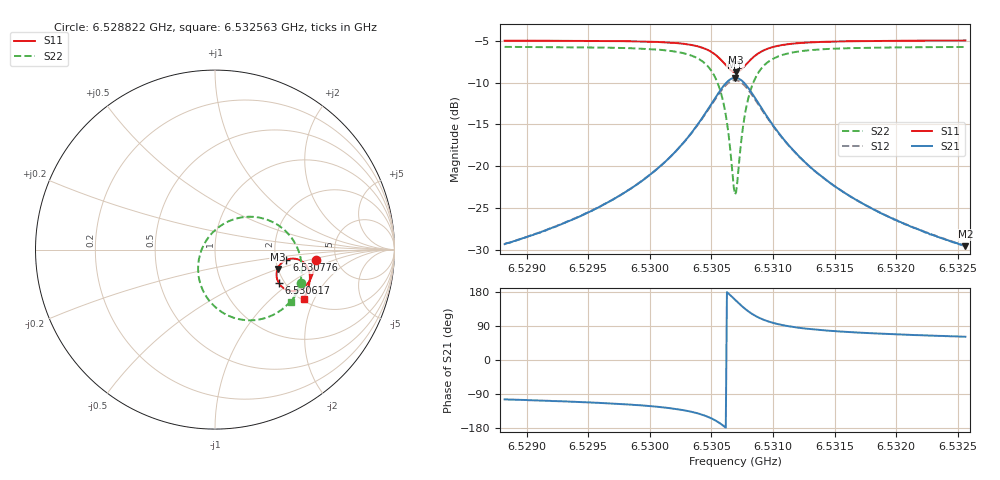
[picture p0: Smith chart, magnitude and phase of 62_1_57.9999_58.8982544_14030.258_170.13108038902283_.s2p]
#  HZ  S  RI  R  50.00
! Rohde & Schwarz Vector Network Analyzer
! Rohde-Schwarz,ZNB20-2Port,1311601062101988,3.16
! Created: UTC 3/21/2024, 12:53:01 AM
! freq[Hz]  re:S11  im:S11  re:S21  im:S21  re:S12  im:S12  re:S22  im:S22
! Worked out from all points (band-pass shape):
!   401 points, 6.528822 GHz to 6.532563 GHz, reference 50 ohm
!   highest |S21| = -9.42 dB at 6.530692 GHz (marker M1); lowest = -29.5 dB at 6.532563 GHz (marker M2)
!   |S21| within 3 dB of the highest: 6.530506 GHz to 6.530881 GHz (374.4 kHz wide, 0.00573 % of centre)
!   lowest |S11| = -8.8 dB at 6.530702 GHz (marker M3), VSWR 2.15, Z = 99.5 - j24.8 ohm
!   |S11| at or under -10 dB: nowhere
!   |S22| runs from -23.4 to -5.7 dB; largest |S21 - S12| = 0.014
!   S11 on the Smith chart (normalised r, x): 6.528822 GHz: 3.48, -0.59; 6.530617 GHz: 1.86, -0.83; 6.530776 GHz: 2.29, -0.31; 6.532563 GHz: 2.05, -1.66
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6.5288218e9  0.5607 -0.0578  -0.00831 -0.0332  -0.00909 -0.0331  0.4816 -0.1888
6.5294484e9  0.5513 -0.1118  -0.0183 -0.0474  -0.0194 -0.0471  0.449 -0.2506
6.5298038e9  0.5401 -0.1469  -0.0318 -0.0628  -0.0336 -0.0619  0.4138 -0.2964
6.530075e9  0.5235 -0.1788  -0.0548 -0.0818  -0.0572 -0.0803  0.3619 -0.3416
6.5302994e9  0.4938 -0.2108  -0.1011 -0.1048  -0.1045 -0.1011  0.2685 -0.3847
6.5304584e9  0.4448 -0.2302  -0.1795 -0.1113  -0.1819 -0.1033  0.1251 -0.3856
6.5305519e9  0.3942 -0.2215  -0.2584 -0.0781  -0.2569 -0.0666  -0.00552 -0.3134
6.5306174e9  0.3564 -0.1875  -0.3134 -0.00781  -0.3054 0.00352  -0.0834 -0.1844
6.5306454e9  0.346 -0.1637  -0.3256 0.0369  -0.3149 0.0464  -0.0943 -0.1078
6.5306735e9  0.343 -0.1359  -0.325 0.0867  -0.3123 0.093  -0.0832 -0.0262
6.5306922e9  0.3459 -0.1172  -0.3162 0.1199  -0.3033 0.124  -0.0626 0.0263
6.5307015e9  0.3488 -0.108  -0.3095 0.1358  -0.2964 0.1386  -0.0484 0.0508
6.5307109e9  0.3527 -0.0992  -0.3012 0.1508  -0.2882 0.1524  -0.032 0.0738
6.5307483e9  0.3757 -0.0705  -0.2564 0.1994  -0.2454 0.1972  0.0505 0.1449
6.5307764e9  0.3975 -0.0572  -0.2165 0.221  -0.2077 0.2175  0.1201 0.1735
6.5308418e9  0.4467 -0.051  -0.1303 0.2311  -0.1258 0.2269  0.266 0.174
6.5309353e9  0.4921 -0.0713  -0.0531 0.2001  -0.0513 0.1977  0.3918 0.1046
6.5310756e9  0.5197 -0.1088  -0.00571 0.1484  -0.00457 0.1477  0.4629 0.000152
6.5313188e9  0.5288 -0.1554  0.015 0.0956  0.0161 0.0953  0.4833 -0.1102
6.53159e9  0.5251 -0.1907  0.0187 0.0663  0.0196 0.066  0.4755 -0.1776
6.5319454e9  0.5153 -0.2259  0.0182 0.0462  0.0189 0.046  0.4579 -0.232
6.5325626e9  0.4937 -0.2752  0.0159 0.0293  0.0166 0.0291  0.4259 -0.2924
